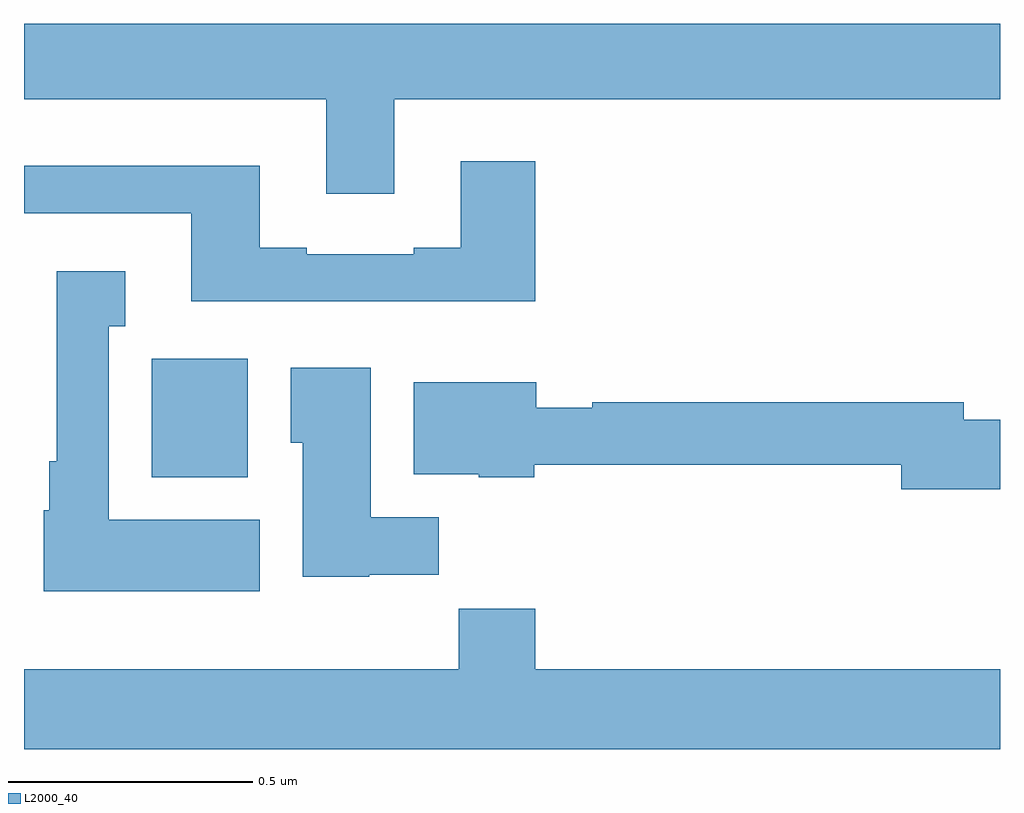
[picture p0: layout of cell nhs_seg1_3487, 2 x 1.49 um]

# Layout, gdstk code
import gdstk
lib = gdstk.Library(unit=1e-6, precision=1e-09)
def R(c, l, rs):  # rectangles x0, y0, x1, y1
    for r in rs: c.add(gdstk.rectangle(r[:2], r[2:], *l))
def P(c, l, *ps):  # polygons
    for p in ps: c.add(gdstk.Polygon(p, *l))
L2000_40 = (2000, 40)

nhs_seg1_3487 = lib.new_cell('nhs_seg1_3487')
R(nhs_seg1_3487, L2000_40, [(154.262,572.27,154.459,572.512)])
P(nhs_seg1_3487, L2000_40, [(154.759,573.044),(156,573.044),(156,573.199),(154,573.199),(154,573.044),(154.619,573.044),(154.619,572.85),(154.759,572.85)],
  [(155.048,572.917),(154.895,572.917),(154.895,572.74),(154.799,572.74),(154.799,572.727),(154.579,572.727),(154.579,572.74),(154.483,572.74),(154.483,572.908),(154,572.908),(154,572.811),(154.343,572.811),(154.343,572.63),(155.048,572.63)],
  [(154.483,572.182),(154.174,572.182),(154.174,572.579),(154.207,572.579),(154.207,572.692),(154.067,572.692),(154.067,572.302),(154.052,572.302),(154.052,572.202),(154.04,572.202),(154.04,572.036),(154.483,572.036)],
  [(154.707,572.07),(154.85,572.07),(154.85,572.188),(154.711,572.188),(154.711,572.494),(154.547,572.494),(154.547,572.34),(154.571,572.34),(154.571,572.066),(154.707,572.066)],
  [(156,572.387),(155.926,572.387),(155.926,572.423),(155.164,572.423),(155.164,572.412),(155.05,572.412),(155.05,572.464),(154.799,572.464),(154.799,572.276),(154.932,572.276),(154.932,572.27),(155.046,572.27),(155.046,572.295),(155.798,572.295),(155.798,572.245),(156,572.245)],
  [(156,571.876),(155.048,571.876),(155.048,572),(154.891,572),(154.891,571.876),(154,571.876),(154,571.712),(156,571.712)])

lib.write_gds('nhs_seg1_3487.gds')
